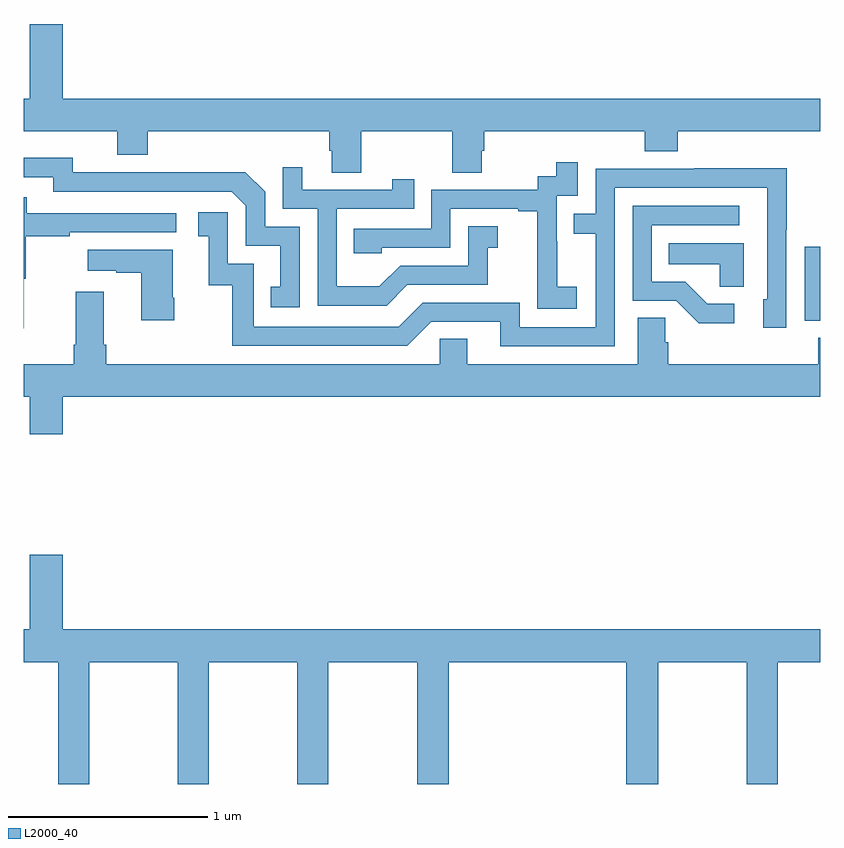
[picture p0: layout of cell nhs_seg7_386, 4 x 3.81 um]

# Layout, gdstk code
import gdstk
lib = gdstk.Library(unit=1e-6, precision=1e-09)
def R(c, l, rs):  # rectangles x0, y0, x1, y1
    for r in rs: c.add(gdstk.rectangle(r[:2], r[2:], *l))
def P(c, l, *ps):  # polygons
    for p in ps: c.add(gdstk.Polygon(p, *l))
L2000_40 = (2000, 40)

nhs_seg7_386 = lib.new_cell('nhs_seg7_386')
R(nhs_seg7_386, L2000_40, [(144.921,1006.326,145,1006.696)])
P(nhs_seg7_386, L2000_40, [(142.695,1007.276),(143.152,1007.276),(143.152,1007.068),(143.299,1007.068),(143.299,1007.178),(143.312,1007.178),(143.312,1007.276),(144.119,1007.276),(144.119,1007.177),(144.284,1007.177),(144.284,1007.276),(145,1007.276),(145,1007.44),(141.196,1007.44),(141.196,1007.815),(141.032,1007.815),(141.032,1007.44),(141,1007.44),(141,1007.276),(141.47,1007.276),(141.47,1007.159),(141.623,1007.159),(141.623,1007.276),(142.535,1007.276),(142.535,1007.178),(142.547,1007.178),(142.547,1007.068),(142.695,1007.068)],
  [(142.386,1006.797),(142.212,1006.797),(142.212,1006.974),(142.114,1007.072),(141.706,1007.072),(141.706,1007.07),(141.246,1007.07),(141.246,1007.143),(141,1007.143),(141,1007.046),(141.15,1007.046),(141.15,1006.974),(142.044,1006.974),(142.116,1006.902),(142.116,1006.701),(142.289,1006.701),(142.289,1006.497),(142.24,1006.497),(142.24,1006.392),(142.386,1006.392)],
  [(143.776,1006.495),(143.678,1006.495),(143.678,1006.724),(143.676,1006.724),(143.676,1006.953),(143.781,1006.953),(143.781,1007.122),(143.673,1007.122),(143.673,1007.052),(143.58,1007.052),(143.58,1006.983),(143.046,1006.983),(143.046,1006.788),(142.657,1006.788),(142.657,1006.665),(142.797,1006.665),(142.797,1006.692),(143.142,1006.692),(143.142,1006.887),(143.483,1006.887),(143.483,1006.875),(143.579,1006.875),(143.579,1006.591),(143.578,1006.591),(143.578,1006.385),(143.776,1006.385)],
  [(142.927,1006.506),(143.331,1006.506),(143.331,1006.691),(143.38,1006.691),(143.38,1006.801),(143.232,1006.801),(143.232,1006.602),(142.89,1006.602),(142.786,1006.498),(142.572,1006.498),(142.572,1006.887),(142.961,1006.887),(142.961,1007.035),(142.85,1007.035),(142.85,1006.983),(142.399,1006.983),(142.399,1007.095),(142.302,1007.095),(142.302,1006.887),(142.476,1006.887),(142.476,1006.401),(142.822,1006.401)],
  [(143.967,1006.992),(144.732,1006.992),(144.732,1006.434),(144.713,1006.434),(144.713,1006.29),(144.828,1006.29),(144.828,1006.783),(144.831,1006.783),(144.831,1007.09),(144.367,1007.09),(144.367,1007.088),(143.871,1007.088),(143.871,1006.863),(143.761,1006.863),(143.761,1006.762),(143.871,1006.762),(143.871,1006.293),(143.49,1006.293),(143.49,1006.416),(143.004,1006.416),(142.884,1006.296),(142.155,1006.296),(142.155,1006.611),(142.026,1006.611),(142.026,1006.87),(141.876,1006.87),(141.876,1006.749),(141.929,1006.749),(141.929,1006.503),(142.047,1006.503),(142.047,1006.2),(142.926,1006.2),(143.046,1006.32),(143.393,1006.32),(143.393,1006.197),(143.967,1006.197)],
  [(141.002,1006.536),(141.01,1006.536),(141.01,1006.75),(141.233,1006.75),(141.233,1006.77),(141.766,1006.77),(141.766,1006.866),(141.017,1006.866),(141.017,1006.945),(141,1006.945),(141,1006.287),(141.002,1006.287)],
  [(144.568,1006.41),(144.433,1006.41),(144.322,1006.521),(144.153,1006.521),(144.153,1006.806),(144.592,1006.806),(144.592,1006.902),(144.057,1006.902),(144.057,1006.425),(144.276,1006.425),(144.389,1006.313),(144.568,1006.313)],
  [(144.616,1006.714),(144.238,1006.714),(144.238,1006.61),(144.495,1006.61),(144.495,1006.495),(144.616,1006.495)],
  [(141.756,1006.441),(141.748,1006.441),(141.748,1006.681),(141.321,1006.681),(141.321,1006.577),(141.464,1006.577),(141.464,1006.567),(141.59,1006.567),(141.59,1006.329),(141.756,1006.329)],
  [(141.196,1005.944),(145,1005.944),(145,1006.241),(144.989,1006.241),(144.989,1006.108),(144.236,1006.108),(144.236,1006.217),(144.222,1006.217),(144.222,1006.34),(144.083,1006.34),(144.083,1006.108),(143.227,1006.108),(143.227,1006.235),(143.088,1006.235),(143.088,1006.108),(141.416,1006.108),(141.416,1006.204),(141.403,1006.204),(141.403,1006.471),(141.263,1006.471),(141.263,1006.204),(141.251,1006.204),(141.251,1006.108),(141,1006.108),(141,1005.944),(141.032,1005.944),(141.032,1005.756),(141.196,1005.756)],
  [(141.33,1004.612),(141.775,1004.612),(141.775,1004),(141.93,1004),(141.93,1004.612),(142.375,1004.612),(142.375,1004),(142.53,1004),(142.53,1004.612),(142.975,1004.612),(142.975,1004),(143.135,1004),(143.135,1004.612),(144.026,1004.612),(144.026,1004),(144.186,1004),(144.186,1004.612),(144.631,1004.612),(144.631,1004),(144.786,1004),(144.786,1004.612),(145,1004.612),(145,1004.776),(141.196,1004.776),(141.196,1005.151),(141.032,1005.151),(141.032,1004.776),(141,1004.776),(141,1004.612),(141.175,1004.612),(141.175,1004),(141.33,1004)])

lib.write_gds('nhs_seg7_386.gds')
